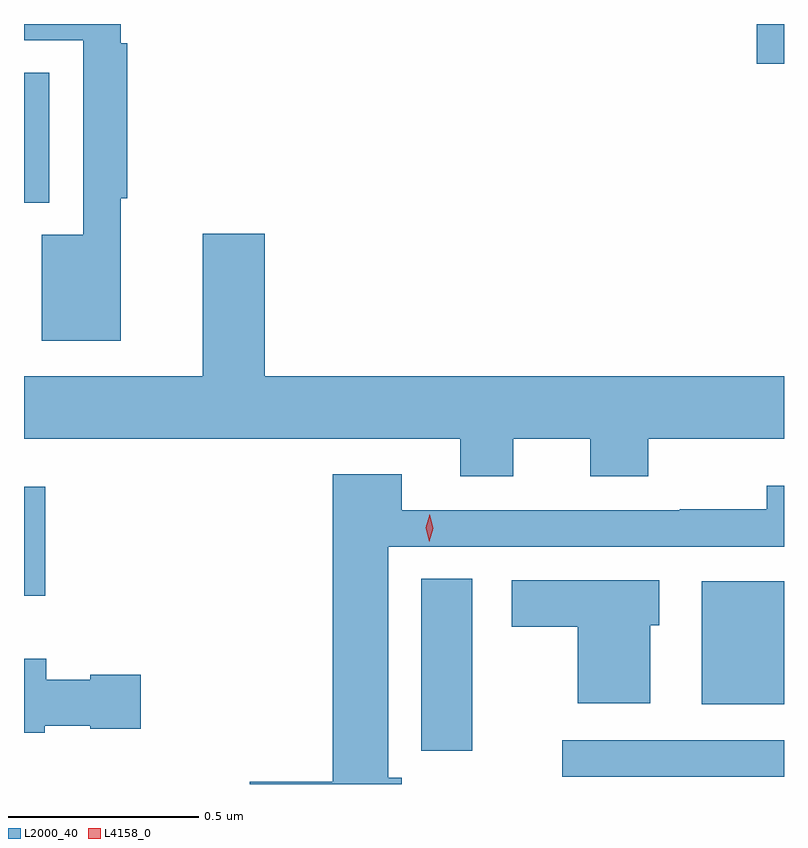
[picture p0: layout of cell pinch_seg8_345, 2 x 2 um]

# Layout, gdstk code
import gdstk
lib = gdstk.Library(unit=1e-6, precision=1e-09)
def R(c, l, rs):  # rectangles x0, y0, x1, y1
    for r in rs: c.add(gdstk.rectangle(r[:2], r[2:], *l))
def P(c, l, *ps):  # polygons
    for p in ps: c.add(gdstk.Polygon(p, *l))
L2000_40 = (2000, 40)
L4158_0 = (4158, 0)

pinch_seg8_345 = lib.new_cell('pinch_seg8_345')
R(pinch_seg8_345, L2000_40, [(453.666,1150.242,454.25,1150.338), (453.296,1150.311,453.43,1150.763), (454.034,1150.433,454.25,1150.756), (452.25,1150.718,452.306,1151.005), (452.25,1151.753,452.317,1152.095), (454.178,1152.119,454.25,1152.223)])
P(pinch_seg8_345, L2000_40, [(452.504,1151.764),(452.522,1151.764),(452.522,1152.173),(452.504,1152.173),(452.504,1152.223),(452.25,1152.223),(452.25,1152.18),(452.406,1152.18),(452.406,1151.668),(452.297,1151.668),(452.297,1151.39),(452.504,1151.39)],
  [(453.538,1151.132),(453.74,1151.132),(453.74,1151.033),(453.893,1151.033),(453.893,1151.132),(454.25,1151.132),(454.25,1151.296),(452.884,1151.296),(452.884,1151.671),(452.72,1151.671),(452.72,1151.296),(452.25,1151.296),(452.25,1151.132),(453.398,1151.132),(453.398,1151.033),(453.538,1151.033)],
  [(453.244,1150.24),(453.208,1150.24),(453.208,1150.848),(454.25,1150.848),(454.25,1151.008),(454.204,1151.008),(454.204,1150.946),(453.976,1150.946),(453.976,1150.944),(453.244,1150.944),(453.244,1151.038),(453.062,1151.038),(453.062,1150.229),(452.844,1150.229),(452.844,1150.223),(453.244,1150.223)],
  [(453.898,1150.641),(453.922,1150.641),(453.922,1150.759),(453.534,1150.759),(453.534,1150.637),(453.707,1150.637),(453.707,1150.436),(453.898,1150.436)],
  [(452.304,1150.376),(452.424,1150.376),(452.424,1150.369),(452.557,1150.369),(452.557,1150.511),(452.424,1150.511),(452.424,1150.498),(452.308,1150.498),(452.308,1150.552),(452.25,1150.552),(452.25,1150.358),(452.304,1150.358)])
P(pinch_seg8_345, L4158_0, [(453.316,1150.86),(453.316,1150.861),(453.307,1150.897),(453.318,1150.933),(453.318,1150.933),(453.318,1150.933),(453.327,1150.896),(453.316,1150.861)])

lib.write_gds('pinch_seg8_345.gds')
